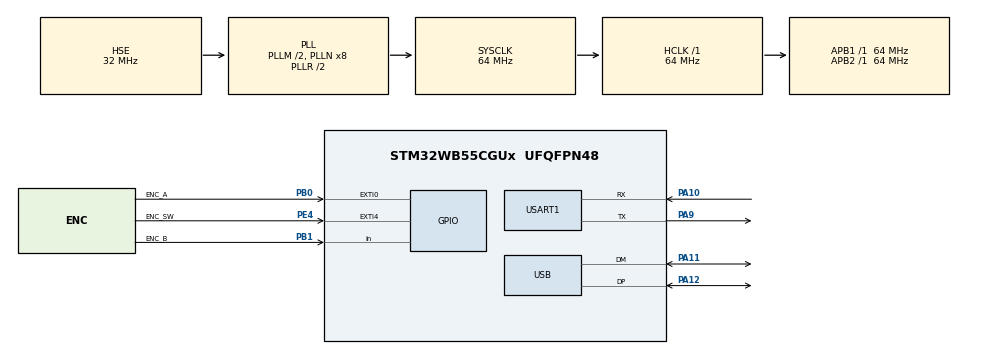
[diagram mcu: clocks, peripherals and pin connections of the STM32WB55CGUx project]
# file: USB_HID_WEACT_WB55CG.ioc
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Mcu.Family=STM32WB
Mcu.Name=STM32WB55CGUx
Mcu.Package=UFQFPN48
NVIC.EXTI0_IRQn=true\:0\:0\:false\:false\:true\:true\:true\:true
NVIC.EXTI4_IRQn=true\:0\:0\:false\:false\:true\:true\:true\:true
NVIC.PriorityGroup=NVIC_PRIORITYGROUP_4
NVIC.USB_LP_IRQn=true\:0\:0\:false\:false\:true\:false\:true\:true
OSC_IN.Mode=HSE-External-Oscillator
OSC_IN.Signal=RCC_OSC_IN
OSC_OUT.Mode=HSE-External-Oscillator
OSC_OUT.Signal=RCC_OSC_OUT
PA10.Mode=Asynchronous
PA10.Signal=USART1_RX
PA11.Mode=Device
PA11.Signal=USB_DM
PA12.Mode=Device
PA12.Signal=USB_DP
PA9.Mode=Asynchronous
PA9.Signal=USART1_TX
PB0.GPIO_Label=ENC_A
PB0.GPIO_PuPd=GPIO_PULLUP
PB0.Signal=GPXTI0
PB1.GPIO_Label=ENC_B
PB1.GPIO_PuPd=GPIO_PULLUP
PB1.Signal=GPIO_Input
PE4.GPIO_Label=ENC_SW
PE4.GPIO_PuPd=GPIO_PULLUP
PE4.Signal=GPXTI4
ProjectManager.HeapSize=0x200
ProjectManager.StackSize=0x400
ProjectManager.TargetToolchain=STM32CubeIDE
RCC.ADCFreq_Value=48000000
RCC.AHB2CLKDivider=RCC_SYSCLK_DIV2
RCC.AHBFreq_Value=64000000
RCC.APB1Freq_Value=64000000
RCC.APB1TimFreq_Value=64000000
RCC.APB2Freq_Value=64000000
RCC.APB2TimFreq_Value=64000000
RCC.APB3Freq_Value=16000000
RCC.CK48CLockSelection=RCC_USBCLKSOURCE_HSI48
RCC.Cortex2_Div=SYSTICK_CLKSOURCE_HCLK_DIV8
RCC.CortexFreq_Value=64000000
RCC.HCLKFreq_Value=64000000
RCC.HSE_VALUE=32000000
RCC.HSI48_VALUE=48000000
RCC.HSI_VALUE=16000000
RCC.LSE_VALUE=32768
RCC.PLLM=RCC_PLLM_DIV2
RCC.PLLSAI1N=6
RCC.PLLSourceVirtual=RCC_PLLSOURCE_HSE
RCC.SYSCLKFreq_VALUE=64000000
RCC.SYSCLKSource=RCC_SYSCLKSOURCE_PLLCLK
RCC.USBFreq_Value=48000000
RCC.VCOOutputFreq_Value=128000000
USART1.VirtualMode-Asynchronous=VM_ASYNC
USB_DEVICE.CLASS_NAME_FS=HID
USB_DEVICE.VirtualMode=Hid
USB_DEVICE.VirtualModeFS=Hid_FS
VP_MEMORYMAP_VS_MEMORYMAP.Mode=CurAppReg
VP_USB_DEVICE_VS_USB_DEVICE_HID_FS.Mode=HID_FS
board=custom

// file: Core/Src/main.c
/* USER CODE BEGIN Header */
/**
  ******************************************************************************
  * @file           : main.c
  * @brief          : Main program body
  ******************************************************************************
  * @attention
  *
  * Copyright (c) 2026 STMicroelectronics.
  * All rights reserved.
  *
  * This software is licensed under terms that can be found in the LICENSE file
  * in the root directory of this software component.
  * If no LICENSE file comes with this software, it is provided AS-IS.
  *
  ******************************************************************************
  */
/* USER CODE END Header */
#include "main.h"
#include "usb_device.h"

/* USER CODE BEGIN Includes */
#include "encoder.h"
#include "usb_mouse.h"
/* USER CODE END Includes */

UART_HandleTypeDef huart1;

void SystemClock_Config(void);
void PeriphCommonClock_Config(void);
static void MX_GPIO_Init(void);
static void MX_USART1_UART_Init(void);

int main(void)
{

  /* MCU Configuration--------------------------------------------------------*/

  /* Reset of all peripherals, Initializes the Flash interface and the Systick. */
  HAL_Init();

  /* Configure the system clock */
  SystemClock_Config();

  /* Configure the peripherals common clocks */
  PeriphCommonClock_Config();

  /* Initialize all configured peripherals */
  MX_GPIO_Init();
  MX_USB_Device_Init();
  MX_USART1_UART_Init();
  /* USER CODE BEGIN 2 */
  Encoder_Init();
  printf("==== DEMO USB HID - MOUSE CONTROL ====\r\n");

  /* USER CODE END 2 */

  /* Infinite loop */
  while (1)
  {

    /* USER CODE BEGIN 3 */

	// handle mouse scroll up/down
	switch(Encoder_GetDirection())
	{
	case ENC_CW:

	  USB_Mouse_Wheel(+1);

	  break;

	case ENC_CCW:

	  USB_Mouse_Wheel(-1);

	  break;

	default:
	  break;
	}

	// handle mouse left click
	if (Encoder_ButtonPressed())
	{
		USB_Mouse_LeftClick();
	}
  }
  /* USER CODE END 3 */
}

void SystemClock_Config(void)
{
  RCC_OscInitTypeDef RCC_OscInitStruct = {0};
  RCC_ClkInitTypeDef RCC_ClkInitStruct = {0};

  /** Configure the main internal regulator output voltage
  */
  __HAL_PWR_VOLTAGESCALING_CONFIG(PWR_REGULATOR_VOLTAGE_SCALE1);

  /** Initializes the RCC Oscillators according to the specified parameters
  * in the RCC_OscInitTypeDef structure.
  */
  RCC_OscInitStruct.OscillatorType = RCC_OSCILLATORTYPE_HSI48|RCC_OSCILLATORTYPE_HSI
                              |RCC_OSCILLATORTYPE_HSE;
  RCC_OscInitStruct.HSEState = RCC_HSE_ON;
  RCC_OscInitStruct.HSIState = RCC_HSI_ON;
  RCC_OscInitStruct.HSI48State = RCC_HSI48_ON;
  RCC_OscInitStruct.HSICalibrationValue = RCC_HSICALIBRATION_DEFAULT;
  RCC_OscInitStruct.PLL.PLLState = RCC_PLL_ON;
  RCC_OscInitStruct.PLL.PLLSource = RCC_PLLSOURCE_HSE;
  RCC_OscInitStruct.PLL.PLLM = RCC_PLLM_DIV2;
  RCC_OscInitStruct.PLL.PLLN = 8;
  RCC_OscInitStruct.PLL.PLLP = RCC_PLLP_DIV2;
  RCC_OscInitStruct.PLL.PLLR = RCC_PLLR_DIV2;
  RCC_OscInitStruct.PLL.PLLQ = RCC_PLLQ_DIV2;
  if (HAL_RCC_OscConfig(&RCC_OscInitStruct) != HAL_OK)
  {
    Error_Handler();
  }

  /** Configure the SYSCLKSource, HCLK, PCLK1 and PCLK2 clocks dividers
  */
  RCC_ClkInitStruct.ClockType = RCC_CLOCKTYPE_HCLK4|RCC_CLOCKTYPE_HCLK2
                              |RCC_CLOCKTYPE_HCLK|RCC_CLOCKTYPE_SYSCLK
                              |RCC_CLOCKTYPE_PCLK1|RCC_CLOCKTYPE_PCLK2;
  RCC_ClkInitStruct.SYSCLKSource = RCC_SYSCLKSOURCE_PLLCLK;
  RCC_ClkInitStruct.AHBCLKDivider = RCC_SYSCLK_DIV1;
  RCC_ClkInitStruct.APB1CLKDivider = RCC_HCLK_DIV1;
  RCC_ClkInitStruct.APB2CLKDivider = RCC_HCLK_DIV1;
  RCC_ClkInitStruct.AHBCLK2Divider = RCC_SYSCLK_DIV2;
  RCC_ClkInitStruct.AHBCLK4Divider = RCC_SYSCLK_DIV1;

  if (HAL_RCC_ClockConfig(&RCC_ClkInitStruct, FLASH_LATENCY_3) != HAL_OK)
  {
    Error_Handler();
  }
}

void PeriphCommonClock_Config(void)
{
  RCC_PeriphCLKInitTypeDef PeriphClkInitStruct = {0};

  /** Initializes the peripherals clock
  */
  PeriphClkInitStruct.PeriphClockSelection = RCC_PERIPHCLK_SMPS;
  PeriphClkInitStruct.SmpsClockSelection = RCC_SMPSCLKSOURCE_HSI;
  PeriphClkInitStruct.SmpsDivSelection = RCC_SMPSCLKDIV_RANGE1;

  if (HAL_RCCEx_PeriphCLKConfig(&PeriphClkInitStruct) != HAL_OK)
  {
    Error_Handler();
  }
}

static void MX_USART1_UART_Init(void)
{

  huart1.Instance = USART1;
  huart1.Init.BaudRate = 115200;
  huart1.Init.WordLength = UART_WORDLENGTH_8B;
  huart1.Init.StopBits = UART_STOPBITS_1;
  huart1.Init.Parity = UART_PARITY_NONE;
  huart1.Init.Mode = UART_MODE_TX_RX;
  huart1.Init.HwFlowCtl = UART_HWCONTROL_NONE;
  huart1.Init.OverSampling = UART_OVERSAMPLING_16;
  huart1.Init.OneBitSampling = UART_ONE_BIT_SAMPLE_DISABLE;
  huart1.Init.ClockPrescaler = UART_PRESCALER_DIV1;
  huart1.AdvancedInit.AdvFeatureInit = UART_ADVFEATURE_NO_INIT;
  if (HAL_UART_Init(&huart1) != HAL_OK)
  {
    Error_Handler();
  }
  if (HAL_UARTEx_SetTxFifoThreshold(&huart1, UART_TXFIFO_THRESHOLD_1_8) != HAL_OK)
  {
    Error_Handler();
  }
  if (HAL_UARTEx_SetRxFifoThreshold(&huart1, UART_RXFIFO_THRESHOLD_1_8) != HAL_OK)
  {
    Error_Handler();
  }
  if (HAL_UARTEx_DisableFifoMode(&huart1) != HAL_OK)
  {
    Error_Handler();
  }

}

static void MX_GPIO_Init(void)
{
  GPIO_InitTypeDef GPIO_InitStruct = {0};

  /* GPIO Ports Clock Enable */
  __HAL_RCC_GPIOA_CLK_ENABLE();
  __HAL_RCC_GPIOB_CLK_ENABLE();
  __HAL_RCC_GPIOE_CLK_ENABLE();

  /*Configure GPIO pin : ENC_A_Pin */
  GPIO_InitStruct.Pin = ENC_A_Pin;
  GPIO_InitStruct.Mode = GPIO_MODE_IT_RISING;
  GPIO_InitStruct.Pull = GPIO_PULLUP;
  HAL_GPIO_Init(ENC_A_GPIO_Port, &GPIO_InitStruct);

  /*Configure GPIO pin : ENC_B_Pin */
  GPIO_InitStruct.Pin = ENC_B_Pin;
  GPIO_InitStruct.Mode = GPIO_MODE_INPUT;
  GPIO_InitStruct.Pull = GPIO_PULLUP;
  HAL_GPIO_Init(ENC_B_GPIO_Port, &GPIO_InitStruct);

  /*Configure GPIO pin : ENC_SW_Pin */
  GPIO_InitStruct.Pin = ENC_SW_Pin;
  GPIO_InitStruct.Mode = GPIO_MODE_IT_RISING;
  GPIO_InitStruct.Pull = GPIO_PULLUP;
  HAL_GPIO_Init(ENC_SW_GPIO_Port, &GPIO_InitStruct);

  /* EXTI interrupt init*/
  HAL_NVIC_SetPriority(EXTI0_IRQn, 0, 0);
  HAL_NVIC_EnableIRQ(EXTI0_IRQn);

  HAL_NVIC_SetPriority(EXTI4_IRQn, 0, 0);
  HAL_NVIC_EnableIRQ(EXTI4_IRQn);

}

/* USER CODE BEGIN 4 */
void HAL_GPIO_EXTI_Callback(uint16_t GPIO_Pin)
{
    Encoder_EXTI_Callback(GPIO_Pin);
}
/* USER CODE END 4 */

void Error_Handler(void)
{
  __disable_irq();
  while (1)
  {
  }
}
